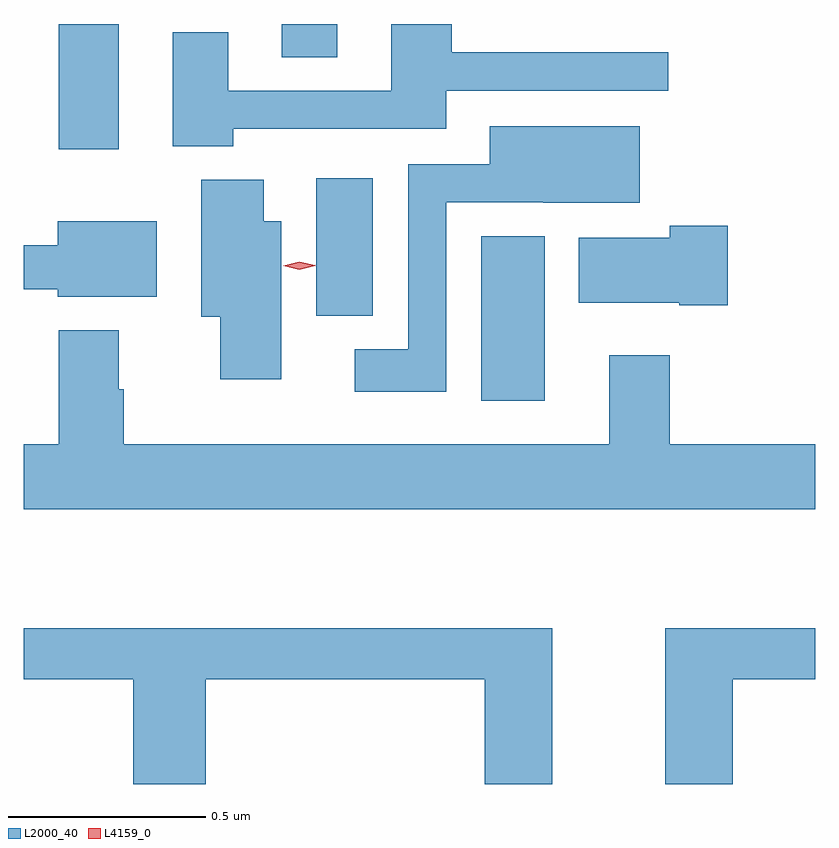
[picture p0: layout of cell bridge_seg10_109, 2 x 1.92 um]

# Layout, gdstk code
import gdstk
lib = gdstk.Library(unit=1e-6, precision=1e-09)
def R(c, l, rs):  # rectangles x0, y0, x1, y1
    for r in rs: c.add(gdstk.rectangle(r[:2], r[2:], *l))
def P(c, l, *ps):  # polygons
    for p in ps: c.add(gdstk.Polygon(p, *l))
L2000_40 = (2000, 40)
L4159_0 = (4159, 0)

bridge_seg10_109 = lib.new_cell('bridge_seg10_109')
R(bridge_seg10_109, L2000_40, [(479.009,1291.266,479.17,1291.681), (478.592,1291.481,478.735,1291.828), (477.941,1291.902,478.093,1292.218), (478.505,1292.134,478.645,1292.218)])
P(bridge_seg10_109, L2000_40, [(478.382,1291.953),(478.921,1291.953),(478.921,1292.049),(479.482,1292.049),(479.482,1292.146),(478.934,1292.146),(478.934,1292.218),(478.781,1292.218),(478.781,1292.049),(478.369,1292.049),(478.369,1292.197),(478.229,1292.197),(478.229,1291.909),(478.382,1291.909)],
  [(478.92,1291.767),(479.166,1291.767),(479.166,1291.766),(479.41,1291.766),(479.41,1291.96),(479.03,1291.96),(479.03,1291.863),(478.824,1291.863),(478.824,1291.396),(478.689,1291.396),(478.689,1291.289),(478.92,1291.289)],
  [(478.504,1291.72),(478.459,1291.72),(478.459,1291.824),(478.301,1291.824),(478.301,1291.478),(478.349,1291.478),(478.349,1291.32),(478.504,1291.32)],
  [(478.189,1291.72),(477.938,1291.72),(477.938,1291.659),(477.853,1291.659),(477.853,1291.548),(477.938,1291.548),(477.938,1291.529),(478.189,1291.529)],
  [(479.632,1291.708),(479.485,1291.708),(479.485,1291.678),(479.255,1291.678),(479.255,1291.514),(479.51,1291.514),(479.51,1291.507),(479.632,1291.507)],
  [(479.853,1291.156),(479.486,1291.156),(479.486,1291.381),(479.333,1291.381),(479.333,1291.156),(478.106,1291.156),(478.106,1291.295),(478.093,1291.295),(478.093,1291.444),(477.941,1291.444),(477.941,1291.156),(477.853,1291.156),(477.853,1290.992),(479.853,1290.992)],
  [(479.645,1290.562),(479.853,1290.562),(479.853,1290.691),(479.474,1290.691),(479.474,1290.297),(479.645,1290.297)],
  [(478.313,1290.562),(479.018,1290.562),(479.018,1290.297),(479.188,1290.297),(479.188,1290.691),(477.853,1290.691),(477.853,1290.562),(478.13,1290.562),(478.13,1290.297),(478.313,1290.297)])
P(bridge_seg10_109, L4159_0, [(478.549,1291.597),(478.509,1291.607),(478.508,1291.607),(478.509,1291.607),(478.549,1291.617),(478.59,1291.608),(478.59,1291.608),(478.59,1291.607)])

lib.write_gds('bridge_seg10_109.gds')
